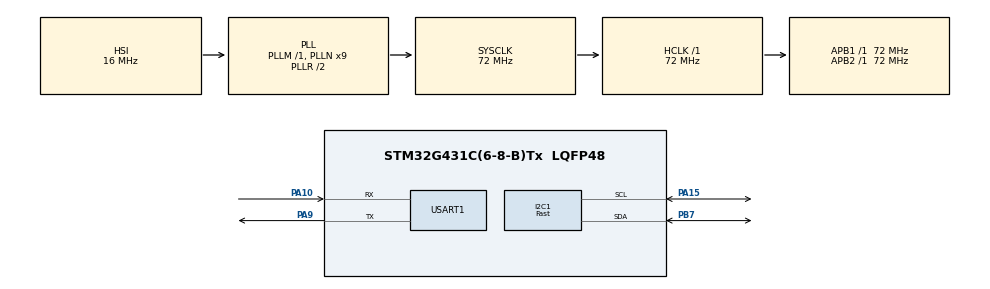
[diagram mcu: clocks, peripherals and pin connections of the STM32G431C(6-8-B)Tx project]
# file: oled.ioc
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I2C1.I2C_Speed_Mode=I2C_Fast
I2C1.Timing=0x00E12573
Mcu.Family=STM32G4
Mcu.Name=STM32G431C(6-8-B)Tx
Mcu.Package=LQFP48
NVIC.PriorityGroup=NVIC_PRIORITYGROUP_4
PA10.Mode=Asynchronous
PA10.Signal=USART1_RX
PA13.Mode=Serial_Wire
PA13.Signal=SYS_JTMS-SWDIO
PA14.Mode=Serial_Wire
PA14.Signal=SYS_JTCK-SWCLK
PA15.Mode=I2C
PA15.Signal=I2C1_SCL
PA9.Mode=Asynchronous
PA9.Signal=USART1_TX
PB7.Mode=I2C
PB7.Signal=I2C1_SDA
PF0-OSC_IN.Mode=HSE-External-Oscillator
PF0-OSC_IN.Signal=RCC_OSC_IN
PF1-OSC_OUT.Mode=HSE-External-Oscillator
PF1-OSC_OUT.Signal=RCC_OSC_OUT
ProjectManager.HeapSize=0x200
ProjectManager.StackSize=0x400
ProjectManager.TargetToolchain=CMake
RCC.ADC12Freq_Value=72000000
RCC.AHBFreq_Value=72000000
RCC.APB1Freq_Value=72000000
RCC.APB1TimFreq_Value=72000000
RCC.APB2Freq_Value=72000000
RCC.APB2TimFreq_Value=72000000
RCC.CortexFreq_Value=72000000
RCC.EXTERNAL_CLOCK_VALUE=12288000
RCC.HCLKFreq_Value=72000000
RCC.HSE_VALUE=8000000
RCC.HSI48_VALUE=48000000
RCC.HSI_VALUE=16000000
RCC.LSE_VALUE=32768
RCC.PLLN=9
RCC.SYSCLKFreq_VALUE=72000000
RCC.SYSCLKSource=RCC_SYSCLKSOURCE_PLLCLK
RCC.USBFreq_Value=72000000
RCC.VCOOutputFreq_Value=144000000
USART1.VirtualMode-Asynchronous=VM_ASYNC
VP_SYS_VS_DBSignals.Mode=DisableDeadBatterySignals
board=custom

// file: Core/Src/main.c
/* USER CODE BEGIN Header */
/**
  ******************************************************************************
  * @file           : main.c
  * @brief          : Main program body
  ******************************************************************************
  * @attention
  *
  * Copyright (c) 2026 STMicroelectronics.
  * All rights reserved.
  *
  * This software is licensed under terms that can be found in the LICENSE file
  * in the root directory of this software component.
  * If no LICENSE file comes with this software, it is provided AS-IS.
  *
  ******************************************************************************
  */
/* USER CODE END Header */
#include "main.h"
#include "i2c.h"
#include "usart.h"
#include "gpio.h"

/* USER CODE BEGIN Includes */
#include "oled.h"
#include "font.h"
#include "string.h"
#include "stdio.h"
/* USER CODE END Includes */

void SystemClock_Config(void);

int main(void)
{

  /* MCU Configuration--------------------------------------------------------*/

  /* Reset of all peripherals, Initializes the Flash interface and the Systick. */
  HAL_Init();

  /* Configure the system clock */
  SystemClock_Config();

  /* Initialize all configured peripherals */
  MX_GPIO_Init();
  MX_I2C1_Init();
  MX_USART1_UART_Init();

  /* USER CODE BEGIN 2 */
  HAL_Delay(20);  // 给OLED足够的上电时间

  // 1. 初始化OLED
  OLED_Init();

  // 2. 绘制全屏白色矩形（亮屏测试）
  OLED_NewFrame();  // 开始新的一帧
  OLED_DrawFilledRectangle(0, 0, 128, 64, OLED_COLOR_NORMAL);  // 全屏白色填充
  OLED_ShowFrame();  // 显示到屏幕

  HAL_Delay(3000);  // 保持3秒

  // 3. 清屏（黑色）
  OLED_NewFrame();  // 开始新的一帧
  OLED_DrawFilledRectangle(0, 0, 128, 64, OLED_COLOR_REVERSED);  // 全屏黑色填充
  OLED_ShowFrame();  // 显示到屏幕
  HAL_Delay(1000);  // 保持1秒

  // 4. 绘制白色边框矩形
  OLED_NewFrame();  // 开始新的一帧
  OLED_DrawRectangle(10, 10, 108, 44, OLED_COLOR_NORMAL);  // 白色边框矩形
  OLED_ShowFrame();  // 显示到屏幕

  HAL_Delay(1000);  // 保持1秒

  // 5. 填充白色矩形（中间区域）
  OLED_NewFrame();  // 开始新的一帧
  OLED_DrawFilledRectangle(20, 20, 88, 24, OLED_COLOR_NORMAL);  // 白色填充矩形
  OLED_ShowFrame();  // 显示到屏幕

  HAL_Delay(1000);  // 保持1秒

  // 6. 绘制对角线（交叉线）
  OLED_NewFrame();  // 开始新的一帧
  OLED_DrawLine(0, 0, 127, 63, OLED_COLOR_NORMAL);  // 左上到右下
  OLED_DrawLine(127, 0, 0, 63, OLED_COLOR_NORMAL);  // 右上到左下
  OLED_ShowFrame();  // 显示到屏幕

  HAL_Delay(1000);  // 保持1秒

  // 7. 绘制多个矩形（棋盘效果）
  OLED_NewFrame();  // 开始新的一帧
  for(int x = 0; x < 128; x += 32) {
    for(int y = 0; y < 64; y += 16) {
      if((x/32 + y/16) % 2 == 0) {
        OLED_DrawFilledRectangle(x, y, 32, 16, OLED_COLOR_NORMAL);
      }
    }
  }
  OLED_ShowFrame();  // 显示到屏幕
  HAL_Delay(2000);  // 保持2秒

  // 8. 返回正常显示模式
  OLED_NewFrame();  // 开始新的一帧
  // 绘制一个边框
  OLED_DrawRectangle(0, 0, 127, 63, OLED_COLOR_NORMAL);
  // 显示文字
  OLED_PrintASCIIString(10, 10, "OLED Test", &afont12x6, OLED_COLOR_NORMAL);
  OLED_PrintASCIIString(10, 30, "Screen OK!", &afont12x6, OLED_COLOR_NORMAL);
  OLED_PrintString(10, 50, "波特律动", &font16x16, OLED_COLOR_NORMAL);
  OLED_ShowFrame();  // 显示到屏幕
  printf("最终显示界面完成\r\n");

  printf("OLED测试程序完成！\r\n");
  /* USER CODE END 2 */

/* USER CODE END 2 */
  /* USER CODE END 2 */

  /* Infinite loop */
  while (1)
  {

  }
}

void SystemClock_Config(void)
{
  RCC_OscInitTypeDef RCC_OscInitStruct = {0};
  RCC_ClkInitTypeDef RCC_ClkInitStruct = {0};

  /** Configure the main internal regulator output voltage
  */
  HAL_PWREx_ControlVoltageScaling(PWR_REGULATOR_VOLTAGE_SCALE1);

  /** Initializes the RCC Oscillators according to the specified parameters
  * in the RCC_OscInitTypeDef structure.
  */
  RCC_OscInitStruct.OscillatorType = RCC_OSCILLATORTYPE_HSI;
  RCC_OscInitStruct.HSIState = RCC_HSI_ON;
  RCC_OscInitStruct.HSICalibrationValue = RCC_HSICALIBRATION_DEFAULT;
  RCC_OscInitStruct.PLL.PLLState = RCC_PLL_ON;
  RCC_OscInitStruct.PLL.PLLSource = RCC_PLLSOURCE_HSI;
  RCC_OscInitStruct.PLL.PLLM = RCC_PLLM_DIV1;
  RCC_OscInitStruct.PLL.PLLN = 9;
  RCC_OscInitStruct.PLL.PLLP = RCC_PLLP_DIV2;
  RCC_OscInitStruct.PLL.PLLQ = RCC_PLLQ_DIV2;
  RCC_OscInitStruct.PLL.PLLR = RCC_PLLR_DIV2;
  if (HAL_RCC_OscConfig(&RCC_OscInitStruct) != HAL_OK)
  {
    Error_Handler();
  }

  /** Initializes the CPU, AHB and APB buses clocks
  */
  RCC_ClkInitStruct.ClockType = RCC_CLOCKTYPE_HCLK|RCC_CLOCKTYPE_SYSCLK
                              |RCC_CLOCKTYPE_PCLK1|RCC_CLOCKTYPE_PCLK2;
  RCC_ClkInitStruct.SYSCLKSource = RCC_SYSCLKSOURCE_PLLCLK;
  RCC_ClkInitStruct.AHBCLKDivider = RCC_SYSCLK_DIV1;
  RCC_ClkInitStruct.APB1CLKDivider = RCC_HCLK_DIV1;
  RCC_ClkInitStruct.APB2CLKDivider = RCC_HCLK_DIV1;

  if (HAL_RCC_ClockConfig(&RCC_ClkInitStruct, FLASH_LATENCY_2) != HAL_OK)
  {
    Error_Handler();
  }
}

void Error_Handler(void)
{
  __disable_irq();
  while (1)
  {
  }
}
